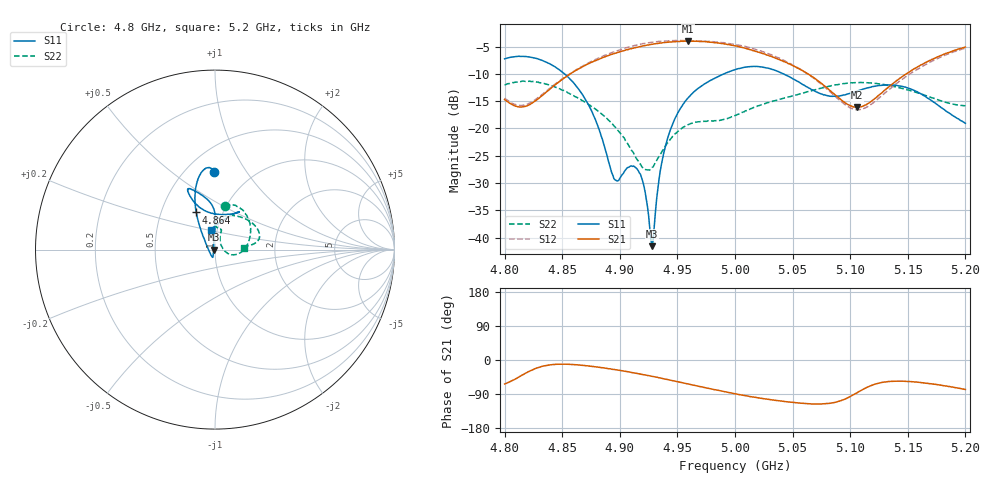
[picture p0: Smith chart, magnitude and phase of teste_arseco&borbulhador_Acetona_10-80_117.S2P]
! Network Analyzer HP8722D
! Hewlett-Packard
! Data name: Linha & Wilkinson
! Saver's name: Rodrigo Anjos
! Comments: Teste da utilização de aquisição
! continua pelo VNA HP8722D
! Time and date: 25/4/2025 16:14
!  Frequency  S11  S21  S12  S22
# HZ  S  MA R 50
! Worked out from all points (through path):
!   401 points, 4.8 GHz to 5.2 GHz, reference 50 ohm
!   highest |S21| = -3.98 dB at 4.959 GHz (marker M1); lowest = -16.1 dB at 5.106 GHz (marker M2)
!   lowest |S11| = -41.6 dB at 4.928 GHz (marker M3), VSWR 1.02, Z = 49.2 + j0.00212 ohm
!   |S11| at or under -10 dB: 4.852 GHz to 4.99 GHz (138.3 MHz wide, 2.81 % of centre); 5.042 GHz to end of sweep
!   |S22| runs from -27.6 to -11.3 dB; largest |S21 - S12| = 1.2
!   S11 on the Smith chart (normalised r, x): 4.8 GHz: 0.68, +0.72; 4.864 GHz: 0.75, +0.33; 5.2 GHz: 0.94, +0.21
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4.8e9  0.4346 90.7  0.1844 -63.3  0.1896 70.2  0.2497 77.0
4.82e9  0.4533 96.9  0.1623 -31.8  0.1677 99.0  0.2709 61.3
4.843e9  0.3719 106.4  0.2473 -11.9  0.2508 119.0  0.2428 36.4
4.864e9  0.2316 116.8  0.3513 -12.9  0.3536 120.8  0.189 11.7
4.867e9  0.2084 118.5  0.3648 -14.0  0.3688 120.5  0.1811 8.4
4.88e9  0.1115 129.1  0.4233 -18.5  0.4342 118.1  0.1474 -5.5
4.896e9  0.03374 -165.8  0.4891 -25.6  0.508 113.0  0.1029 -16.3
4.91e9  0.04534 -108.1  0.5388 -32.8  0.5644 106.9  0.06343 -13.1
4.917e9  0.0391 -105.3  0.5612 -36.6  0.5901 103.3  0.04791 -0.3
4.922e9  0.02608 -109.6  0.5764 -39.4  0.6039 100.5  0.0421 17.4
4.928e9  0.008334 179.9  0.5909 -43.1  0.6166 96.9  0.04387 41.1
4.93e9  0.0131 126.9  0.5959 -44.4  0.6206 95.5  0.04684 48.7
4.934e9  0.03381 101.1  0.6037 -47.0  0.6295 93.1  0.05527 58.4
4.944e9  0.09783 91.0  0.6213 -53.3  0.6366 86.7  0.07992 69.3
4.959e9  0.1893 89.6  0.6322 -63.1  0.6382 77.1  0.1079 71.4
5e9  0.3461 109.1  0.572 -89.1  0.5901 50.6  0.1314 88.1
5.03e9  0.3543 115.1  0.4608 -104.4  0.479 33.8  0.1739 85.2
5.067e9  0.2262 105.3  0.2984 -115.9  0.2957 23.6  0.2227 56.7
5.106e9  0.22 64.7  0.1562 -86.4  0.1484 56.7  0.2629 24.6
5.134e9  0.2505 57.3  0.2428 -56.6  0.2283 88.8  0.2473 12.2
5.169e9  0.1851 70.1  0.4201 -62.3  0.4035 84.6  0.1943 6.8
5.2e9  0.1116 101.0  0.5576 -77.8  0.5454 70.0  0.1613 3.6
